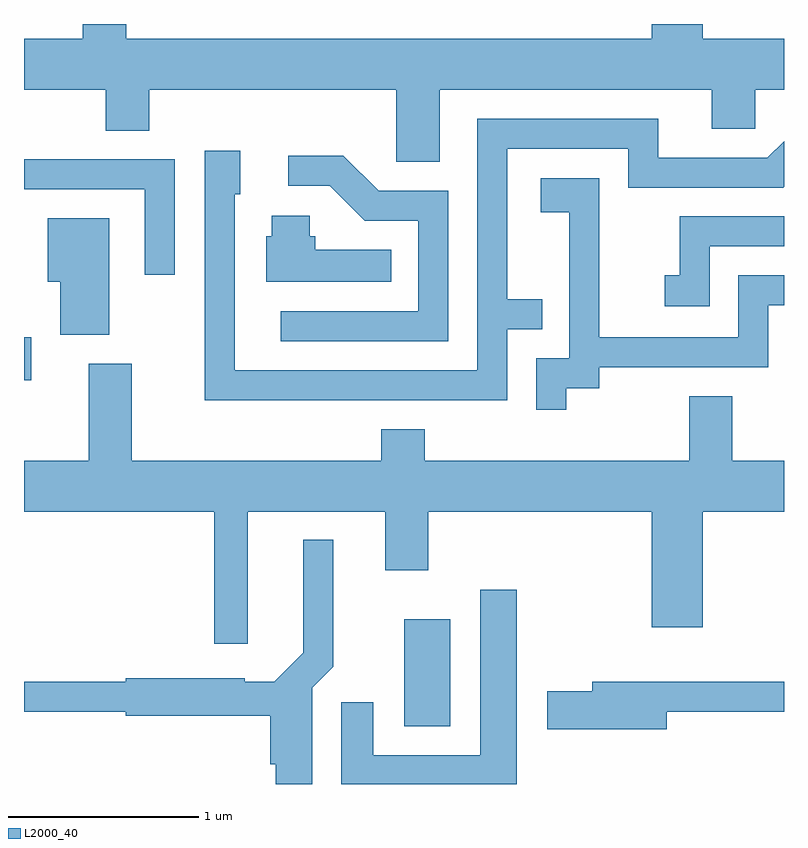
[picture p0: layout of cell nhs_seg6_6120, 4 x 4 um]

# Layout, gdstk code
import gdstk
lib = gdstk.Library(unit=1e-6, precision=1e-09)
def R(c, l, rs):  # rectangles x0, y0, x1, y1
    for r in rs: c.add(gdstk.rectangle(r[:2], r[2:], *l))
def P(c, l, *ps):  # polygons
    for p in ps: c.add(gdstk.Polygon(p, *l))
L2000_40 = (2000, 40)

nhs_seg6_6120 = lib.new_cell('nhs_seg6_6120')
R(nhs_seg6_6120, L2000_40, [(373.611,1544.466,373.854,1545.029), (371.611,1546.286,371.649,1546.514)])
P(nhs_seg6_6120, L2000_40, [(373.799,1547.816),(375.231,1547.816),(375.231,1547.611),(375.459,1547.611),(375.459,1547.816),(375.611,1547.816),(375.611,1548.084),(375.184,1548.084),(375.184,1548.162),(374.916,1548.162),(374.916,1548.084),(372.149,1548.084),(372.149,1548.162),(371.921,1548.162),(371.921,1548.084),(371.611,1548.084),(371.611,1547.816),(372.041,1547.816),(372.041,1547.601),(372.269,1547.601),(372.269,1547.816),(373.571,1547.816),(373.571,1547.436),(373.799,1547.436)],
  [(374.154,1546.556),(374.338,1546.556),(374.338,1546.714),(374.154,1546.714),(374.154,1547.506),(374.791,1547.506),(374.791,1547.301),(375.607,1547.301),(375.611,1547.305),(375.611,1547.546),(375.524,1547.459),(374.949,1547.459),(374.949,1547.664),(373.996,1547.664),(373.996,1546.339),(372.719,1546.339),(372.719,1547.266),(372.749,1547.266),(372.749,1547.494),(372.561,1547.494),(372.561,1546.181),(374.154,1546.181)],
  [(373.844,1547.284),(373.477,1547.284),(373.292,1547.469),(373.003,1547.469),(373.003,1547.311),(373.219,1547.311),(373.404,1547.126),(373.686,1547.126),(373.686,1546.649),(372.963,1546.649),(372.963,1546.491),(373.844,1546.491)],
  [(372.404,1547.449),(371.611,1547.449),(371.611,1547.291),(372.246,1547.291),(372.246,1546.843),(372.404,1546.843)],
  [(374.464,1546.246),(374.639,1546.246),(374.639,1546.356),(375.529,1546.356),(375.529,1546.681),(375.611,1546.681),(375.611,1546.839),(375.371,1546.839),(375.371,1546.514),(374.639,1546.514),(374.639,1547.349),(374.331,1547.349),(374.331,1547.171),(374.481,1547.171),(374.481,1546.404),(374.306,1546.404),(374.306,1546.133),(374.464,1546.133)],
  [(373.543,1546.974),(373.144,1546.974),(373.144,1547.044),(373.114,1547.044),(373.114,1547.154),(372.916,1547.154),(372.916,1547.044),(372.886,1547.044),(372.886,1546.806),(373.543,1546.806)],
  [(375.219,1546.991),(375.611,1546.991),(375.611,1547.149),(375.061,1547.149),(375.061,1546.839),(374.983,1546.839),(374.983,1546.676),(375.219,1546.676)],
  [(372.059,1547.139),(371.736,1547.139),(371.736,1546.806),(371.801,1546.806),(371.801,1546.526),(372.059,1546.526)],
  [(373.719,1546.029),(373.491,1546.029),(373.491,1545.864),(372.179,1545.864),(372.179,1546.374),(371.951,1546.374),(371.951,1545.864),(371.611,1545.864),(371.611,1545.596),(372.611,1545.596),(372.611,1544.901),(372.789,1544.901),(372.789,1545.596),(373.511,1545.596),(373.511,1545.286),(373.739,1545.286),(373.739,1545.596),(374.916,1545.596),(374.916,1544.986),(375.184,1544.986),(375.184,1545.596),(375.611,1545.596),(375.611,1545.864),(375.339,1545.864),(375.339,1546.204),(375.111,1546.204),(375.111,1545.864),(373.719,1545.864)],
  [(373.129,1544.669),(373.239,1544.779),(373.239,1545.448),(373.081,1545.448),(373.081,1544.852),(372.929,1544.699),(372.774,1544.699),(372.774,1544.719),(372.146,1544.719),(372.146,1544.699),(371.611,1544.699),(371.611,1544.541),(372.146,1544.541),(372.146,1544.521),(372.906,1544.521),(372.906,1544.266),(372.936,1544.266),(372.936,1544.162),(373.129,1544.162)],
  [(374.204,1545.184),(374.011,1545.184),(374.011,1544.314),(373.449,1544.314),(373.449,1544.593),(373.281,1544.593),(373.281,1544.162),(374.204,1544.162)],
  [(374.994,1544.541),(375.611,1544.541),(375.611,1544.699),(374.601,1544.699),(374.601,1544.649),(374.366,1544.649),(374.366,1544.451),(374.994,1544.451)])

lib.write_gds('nhs_seg6_6120.gds')
